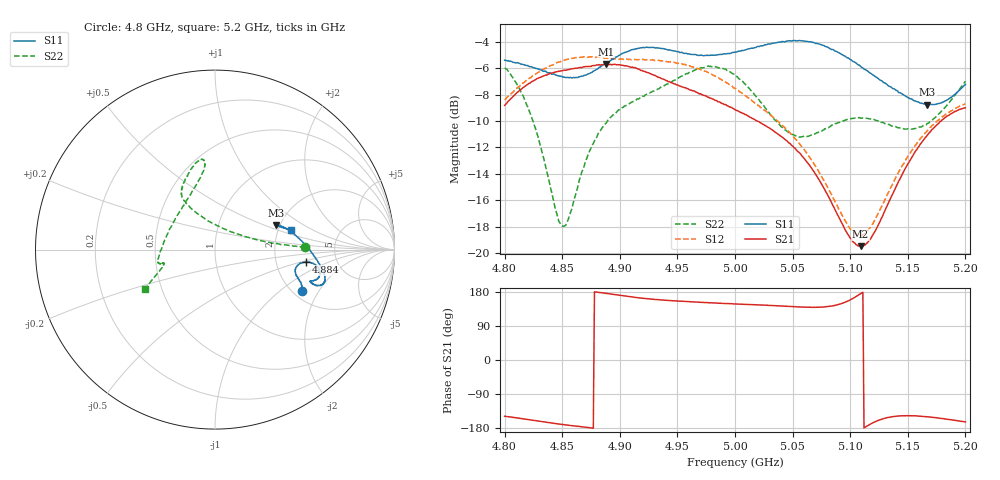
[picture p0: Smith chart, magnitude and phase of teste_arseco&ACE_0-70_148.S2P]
! Network Analyzer HP8722D
! Hewlett-Packard
! Data name: Linha & Wilkinson
! Saver's name: Rodrigo Anjos
! Comments: Teste da utilização de aquisição
! continua pelo VNA HP8722D
! Time and date: 8/5/2025 13:59
!  Frequency  S11  S21  S12  S22
# HZ  S  MA R 50
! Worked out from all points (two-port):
!   401 points, 4.8 GHz to 5.2 GHz, reference 50 ohm
!   highest |S21| = -5.69 dB at 4.888 GHz (marker M1); lowest = -19.5 dB at 5.109 GHz (marker M2)
!   |S21| within 3 dB of the highest: 4.801 GHz to 4.989 GHz (187.7 MHz wide, 3.83 % of centre)
!   lowest |S11| = -8.8 dB at 5.167 GHz (marker M3), VSWR 2.15, Z = 94.8 + j30 ohm
!   |S11| at or under -10 dB: nowhere
!   |S22| runs from -18.0 to -5.8 dB; largest |S21 - S12| = 1.1
!   S11 on the Smith chart (normalised r, x): 4.8 GHz: 2.24, -1.45; 4.884 GHz: 2.97, -0.55; 5.2 GHz: 2.33, +0.64
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4.8e9  0.5365 -25.4  0.3623 -148.5  0.3808 10.7  0.5023 1.6
4.812e9  0.5238 -22.3  0.4088 -153.4  0.4257 9.0  0.4254 2.8
4.823e9  0.5078 -20.5  0.4436 -158.4  0.4614 7.7  0.3308 6.0
4.849e9  0.4673 -16.1  0.4896 -169.7  0.5321 3.5  0.1278 57.8
4.855e9  0.4618 -14.4  0.4945 -172.1  0.5412 2.4  0.1333 84.3
4.867e9  0.4673 -11.2  0.5035 -176.2  0.5501 0.7  0.2029 112.7
4.884e9  0.5101 -7.7  0.516 177.3  0.548 -0.6  0.295 121.6
4.888e9  0.5201 -7.7  0.5195 175.9  0.5461 -0.7  0.3102 121.9
4.912e9  0.5893 -10.7  0.5027 165.8  0.5394 -0.3  0.375 119.8
4.934e9  0.5968 -15.6  0.4619 158.9  0.5359 -1.2  0.4187 113.5
4.976e9  0.5609 -18.5  0.3897 151.6  0.4834 -5.0  0.5088 99.5
5e9  0.5765 -19.2  0.3488 147.9  0.4208 -5.0  0.4713 97.0
5.018e9  0.5992 -19.4  0.3179 145.8  0.3684 -2.3  0.3928 103.8
5.044e9  0.6323 -17.5  0.2681 141.8  0.2957 3.2  0.2919 131.3
5.067e9  0.6275 -13.3  0.2082 139.1  0.2235 9.5  0.281 164.5
5.098e9  0.5484 -2.9  0.1179 155.7  0.1275 36.6  0.321 -170.3
5.109e9  0.5085 2.2  0.1064 174.9  0.1169 58.1  0.3239 -167.3
5.119e9  0.4749 7.2  0.1161 -166.7  0.1281 77.6  0.3206 -166.1
5.134e9  0.4276 14.3  0.1575 -151.0  0.1727 94.7  0.3066 -165.9
5.167e9  0.3648 22.1  0.2796 -150.0  0.2912 102.8  0.3098 -161.3
5.183e9  0.3773 20.0  0.3272 -155.8  0.3359 102.9  0.3586 -156.5
5.2e9  0.4353 14.8  0.3547 -163.3  0.3676 103.2  0.4472 -150.6
